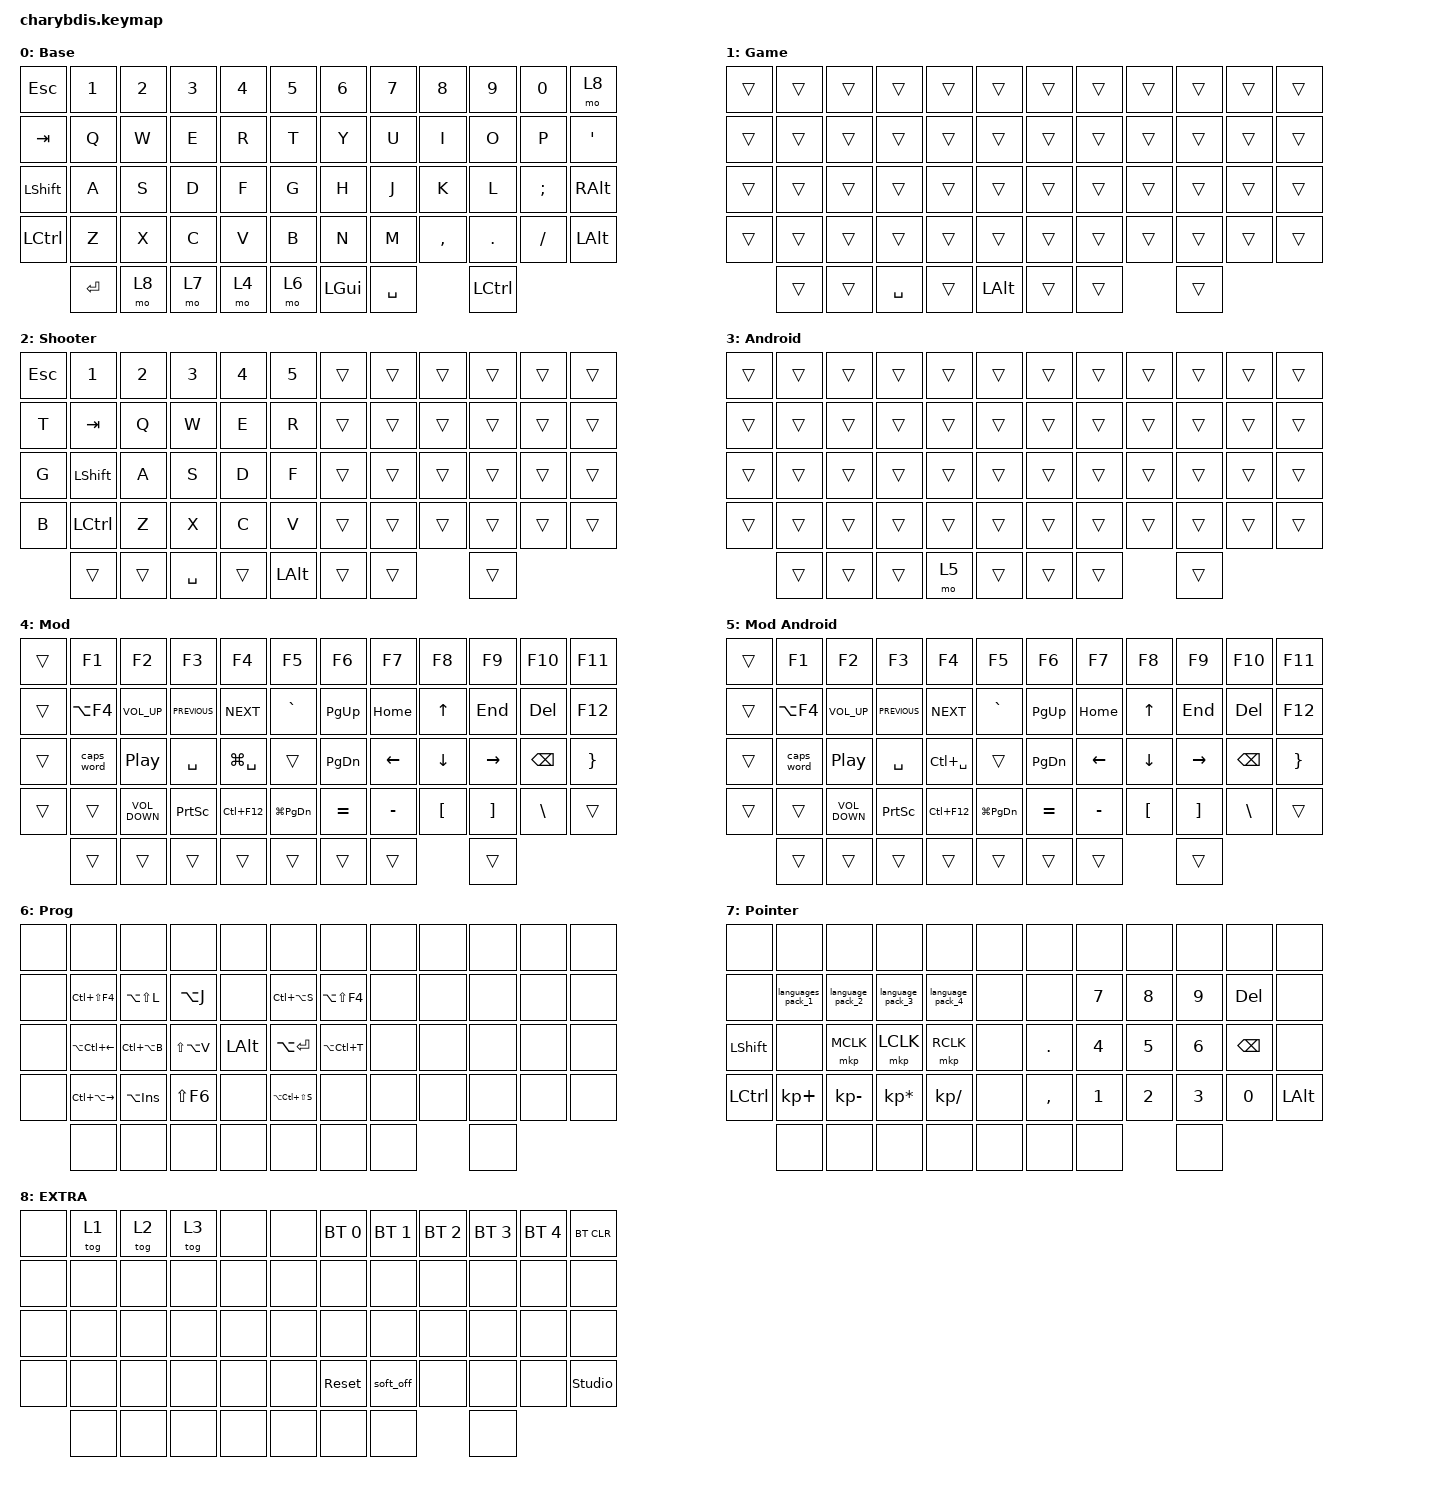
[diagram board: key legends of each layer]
#include <dt-bindings/zmk/mouse.h>
#include <behaviors/mouse_keys.dtsi>
#include <behaviors.dtsi>
#include <dt-bindings/zmk/bt.h>
#include <dt-bindings/zmk/keys.h>
#include <dt-bindings/zmk/pointing.h>

/ {
    chosen { zmk,physical-layout = &charybdis_6col_layout; };
};

// Layer definitions

#define BASE     0
#define GAME  1
#define SHOOTER    2
#define ANDROID    3
#define MOD  4
#define MOD_ANDROID   5
#define PROG  6
#define POINTER   7

/ {
    macros {
        languages_pack_1: languages_pack_1 {
            compatible = "zmk,behavior-macro";
            #binding-cells = <0>;
            bindings = <&kp LA(LG(N7)) &kp LG(LA(N8))>;
        };

        language_pack_2: language_pack_2 {
            compatible = "zmk,behavior-macro";
            #binding-cells = <0>;
            bindings = <&kp LA(LG(N7)) &kp LG(LA(N9))>;
        };

        language_pack_3: language_pack_3 {
            compatible = "zmk,behavior-macro";
            #binding-cells = <0>;
            bindings = <&kp LA(LG(N8)) &kp LG(LA(NUMBER_6))>;
        };

        language_pack_4: language_pack_4 {
            compatible = "zmk,behavior-macro";
            #binding-cells = <0>;
            bindings = <&kp LA(LG(N7)) &kp LG(LA(N6))>;
        };
    };

    combos {
        compatible = "zmk,combos";
        timeout-ms = <20>;
        require-prior-idle-ms = <250>;

        // === Bracket combos ===

        curly_l {
            bindings = <&kp LEFT_BRACE>;
            key-positions = <14 15>;
            layers = <MOD>;
        };

        curly_r {
            bindings = <&kp RIGHT_BRACE>;
            key-positions = <20 21>;
            layers = <MOD>;
        };

        paren_l {
            bindings = <&kp LEFT_PARENTHESIS>;
            key-positions = <26 27>;
            layers = <MOD>;
        };

        paren_r {
            bindings = <&kp RIGHT_PARENTHESIS>;
            key-positions = <32 33>;
            layers = <MOD>;
        };

        bracket_l {
            bindings = <&kp LEFT_BRACKET>;
            key-positions = <38 39>;
            layers = <MOD>;
        };

        bracket_r {
            bindings = <&kp RIGHT_BRACKET>;
            key-positions = <44 45>;
            layers = <MOD>;
        };

        angle_l {
            bindings = <&kp LESS_THAN>;
            key-positions = <25 26>;
            layers = <MOD>;
        };

        angle_r {
            bindings = <&kp GREATER_THAN>;
            key-positions = <33 34>;
            layers = <MOD>;
        };
    };

    keymap {
        compatible = "zmk,keymap";

        // ╭─────────────┬─────────────┬─────────────┬─────────────┬─────────────┬─────────────╮   ╭─────────────┬─────────────┬─────────────┬─────────────┬─────────────┬─────────────╮
        //    0             1             2             3             4             5                 6             7             8             9            10            11
        // ├─────────────┼─────────────┼─────────────┼─────────────┼─────────────┼─────────────┤   ├─────────────┼─────────────┼─────────────┼─────────────┼─────────────┼─────────────┤
        //   12            13            14            15            16            17                18            19            20            21            22            23
        // ├─────────────┼─────────────┼─────────────┼─────────────┼─────────────┼─────────────┤   ├─────────────┼─────────────┼─────────────┼─────────────┼─────────────┼─────────────┤
        //   24            25            26            27            28            29                30            31            32            33            34            35
        // ├─────────────┼─────────────┼─────────────┼─────────────┼─────────────┼─────────────┤   ├─────────────┼─────────────┼─────────────┼─────────────┼─────────────┼─────────────┤
        //   36            37            38            39            40            41                42            43            44            45            46            47
        // ╰─────────────┴─────────────┴─────────────┴─────────────┴─────────────┴─────────────╯   ╰─────────────┴─────────────┴─────────────┴─────────────┴─────────────┴─────────────╯
        //               ╭─────────────┬─────────────┬─────────────┬─────────────┬─────────────╮   ╭─────────────┬─────────────┬─────────────╮
        //                  48            49            50            51            52                53            54            55
        //               ╰─────────────┴─────────────┴─────────────┴─────────────┴─────────────╯   ╰─────────────┴─────────────┴─────────────╯
        //                                                                         Actual Key Positions
        //                                          ╭─────────────┬─────────────┬─────────────╮    ╭─────────────┬─────────────╮
        //                                             50           51            48                 55            54
        //                                          ╰─────────────┼─────────────┼─────────────┤    ├─────────────┼─────────────╯
        //                                                          52            49                 53
        //                                                        ╰─────────────┴─────────────╯    ╰─────────────╯

        base_layer {
            label = "BASE";
            display-name = "Base";
            bindings = <
&kp ESC     &kp NUMBER_1  &kp N2  &kp N3  &kp N4  &kp N5  &kp N6           &kp N7     &kp N8     &kp N9     &kp N0     &mo 8
&kp TAB     &kp Q         &kp W   &kp E   &kp R   &kp T             &kp Y  &kp U      &kp I      &kp O      &kp P      &kp APOSTROPHE
&kp LSHIFT  &kp A         &kp S   &kp D   &kp F   &kp G             &kp H  &kp J      &kp K      &kp L      &kp SEMI   &kp RIGHT_ALT
&kp LCTRL   &kp Z         &kp X   &kp C   &kp V   &kp B             &kp N  &kp M      &kp COMMA  &kp DOT    &kp SLASH  &kp LEFT_ALT
            &kp ENTER     &mo 8   &mo 7   &mo 4   &mo 6   &kp LGUI         &kp SPACE             &kp LCTRL
            >;
        };

        game_layer {
            label = "GAME";
            display-name = "Game";
            bindings = <
&trans  &trans  &trans  &trans     &trans  &trans        &trans          &trans  &trans  &trans  &trans  &trans
&trans  &trans  &trans  &trans     &trans  &trans                &trans  &trans  &trans  &trans  &trans  &trans
&trans  &trans  &trans  &trans     &trans  &trans                &trans  &trans  &trans  &trans  &trans  &trans
&trans  &trans  &trans  &trans     &trans  &trans                &trans  &trans  &trans  &trans  &trans  &trans
        &trans  &trans  &kp SPACE  &trans  &kp LEFT_ALT  &trans          &trans          &trans
            >;
        };

        shooter_layer {
            label = "SHOOTER";
            display-name = "Shooter";
            bindings = <
&kp ESCAPE  &kp NUMBER_1    &kp NUMBER_2  &kp NUMBER_3  &kp NUMBER_4  &kp NUMBER_5  &trans          &trans  &trans  &trans  &trans  &trans
&kp T       &kp TAB         &kp Q         &kp W         &kp E         &kp R                 &trans  &trans  &trans  &trans  &trans  &trans
&kp G       &kp LEFT_SHIFT  &kp A         &kp S         &kp D         &kp F                 &trans  &trans  &trans  &trans  &trans  &trans
&kp B       &kp LCTRL       &kp Z         &kp X         &kp C         &kp V                 &trans  &trans  &trans  &trans  &trans  &trans
            &trans          &trans        &kp SPACE     &trans        &kp LEFT_ALT  &trans          &trans          &trans
            >;
        };

        android_layer {
            label = "ANDROID";
            display-name = "Android";
            bindings = <
&trans  &trans  &trans  &trans  &trans  &trans  &trans          &trans  &trans  &trans  &trans  &trans
&trans  &trans  &trans  &trans  &trans  &trans          &trans  &trans  &trans  &trans  &trans  &trans
&trans  &trans  &trans  &trans  &trans  &trans          &trans  &trans  &trans  &trans  &trans  &trans
&trans  &trans  &trans  &trans  &trans  &trans          &trans  &trans  &trans  &trans  &trans  &trans
        &trans  &trans  &trans  &mo 5   &trans  &trans          &trans          &trans
            >;
        };

        mod_layer {
            label = "MOD";
            display-name = "Mod";
            bindings = <
&trans  &kp F1      &kp F2             &kp F3           &kp F4         &kp F5             &kp F6             &kp F7     &kp F8    &kp F9     &kp F10        &kp F11
&trans  &kp LA(F4)  &kp C_VOLUME_UP    &kp C_PREVIOUS   &kp C_NEXT     &kp GRAVE                  &kp PG_UP  &kp HOME   &kp UP    &kp END    &kp DEL        &kp F12
&trans  &caps_word  &kp C_PLAY_PAUSE   &kp SPACE        &kp LG(SPACE)  &trans                     &kp PG_DN  &kp LEFT   &kp DOWN  &kp RIGHT  &kp BACKSPACE  &kp RIGHT_BRACE
&trans  &trans      &kp C_VOLUME_DOWN  &kp PRINTSCREEN  &kp LC(F12)    &kp LG(PAGE_DOWN)          &kp EQUAL  &kp MINUS  &kp LBKT  &kp RBKT   &kp BACKSLASH  &trans
        &trans      &trans             &trans           &trans         &trans             &trans             &trans               &trans
            >;
        };

        mod_android_layer {
            label = "MOD_ANDROID";
            display-name = "Mod Android";
            bindings = <
&trans  &kp F1      &kp F2             &kp F3           &kp F4         &kp F5             &kp F6             &kp F7     &kp F8    &kp F9     &kp F10        &kp F11
&trans  &kp LA(F4)  &kp C_VOLUME_UP    &kp C_PREVIOUS   &kp C_NEXT     &kp GRAVE                  &kp PG_UP  &kp HOME   &kp UP    &kp END    &kp DEL        &kp F12
&trans  &caps_word  &kp C_PLAY_PAUSE   &kp SPACE        &kp LC(SPACE)  &trans                     &kp PG_DN  &kp LEFT   &kp DOWN  &kp RIGHT  &kp BACKSPACE  &kp RIGHT_BRACE
&trans  &trans      &kp C_VOLUME_DOWN  &kp PRINTSCREEN  &kp LC(F12)    &kp LG(PAGE_DOWN)          &kp EQUAL  &kp MINUS  &kp LBKT  &kp RBKT   &kp BACKSLASH  &trans
        &trans      &trans             &trans           &trans         &trans             &trans             &trans               &trans
            >;
        };

        prog_layer {
            label = "PROG";
            display-name = "Prog";
            bindings = <
&none  &none                    &none           &none          &none         &none              &none                  &none  &none  &none  &none  &none
&none  &kp LC(LS(F4))           &kp LA(LS(L))   &kp LA(J)      &none         &kp LC(LA(S))             &kp LA(LS(F4))  &none  &none  &none  &none  &none
&none  &kp LA(LC(LEFT_ARROW))   &kp LC(LA(B))   &kp LS(LA(V))  &kp LEFT_ALT  &kp LA(ENTER)             &kp LA(LC(T))   &none  &none  &none  &none  &none
&none  &kp LC(LA(RIGHT_ARROW))  &kp LA(INSERT)  &kp LS(F6)     &none         &kp LA(LC(LS(S)))         &none           &none  &none  &none  &none  &none
       &none                    &none           &none          &none         &none              &none                  &none         &none
            >;
        };

        pointer_layer {
            label = "POINTER";
            display-name = "Pointer";
            bindings = <
&none           &none              &none             &none             &none             &none  &none             &none   &none   &none   &none          &none
&none           &languages_pack_1  &language_pack_2  &language_pack_3  &language_pack_4  &none         &none      &kp N7  &kp N8  &kp N9  &kp DEL        &none
&kp LEFT_SHIFT  &none              &mkp MCLK         &mkp LCLK         &mkp RCLK         &none         &kp DOT    &kp N4  &kp N5  &kp N6  &kp BACKSPACE  &none
&kp LCTRL       &kp KP_PLUS        &kp KP_MINUS      &kp KP_MULTIPLY   &kp KP_DIVIDE     &none         &kp COMMA  &kp N1  &kp N2  &kp N3  &kp N0         &kp LEFT_ALT
                &none              &none             &none             &none             &none  &none             &none           &none
            >;
        };

        extra_layer {
            bindings = <
&none  &tog 1  &tog 2  &tog 3  &none  &none  &bt BT_SEL 0              &bt BT_SEL 1  &bt BT_SEL 2  &bt BT_SEL 3  &bt BT_SEL 4  &bt BT_CLR
&none  &none   &none   &none   &none  &none                &none       &none         &none         &none         &none         &none
&none  &none   &none   &none   &none  &none                &none       &none         &none         &none         &none         &none
&none  &none   &none   &none   &none  &none                &sys_reset  &soft_off     &none         &none         &none         &studio_unlock
       &none   &none   &none   &none  &none  &none                     &none                       &none
            >;

            label = "EXTRA";
        };
    };
};
